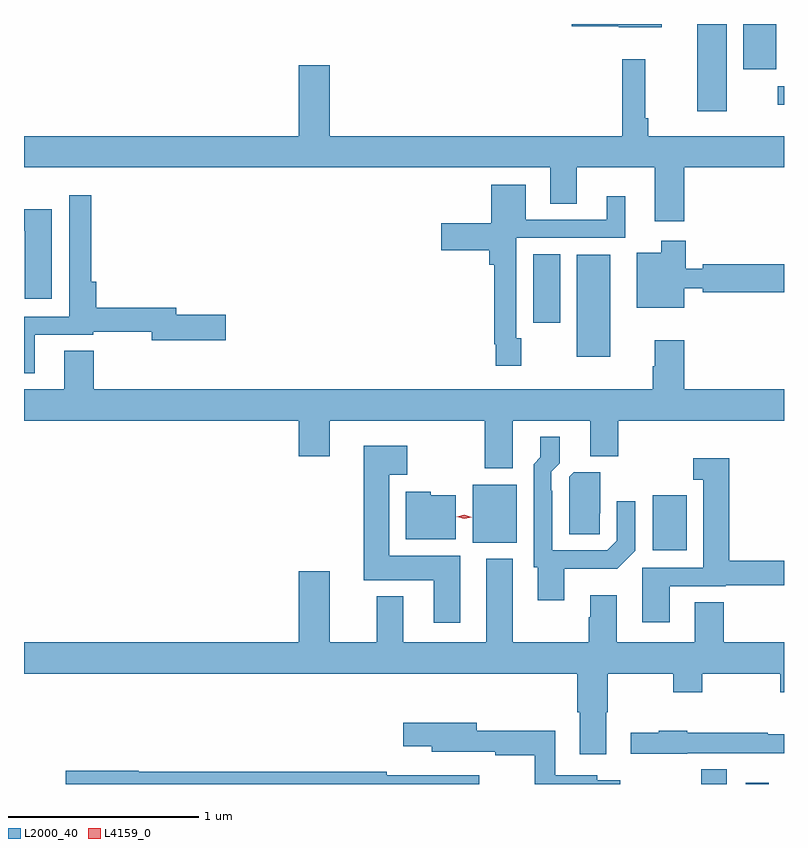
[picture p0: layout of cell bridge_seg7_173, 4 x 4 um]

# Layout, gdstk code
import gdstk
lib = gdstk.Library(unit=1e-6, precision=1e-09)
def R(c, l, rs):  # rectangles x0, y0, x1, y1
    for r in rs: c.add(gdstk.rectangle(r[:2], r[2:], *l))
def P(c, l, *ps):  # polygons
    for p in ps: c.add(gdstk.Polygon(p, *l))
L2000_40 = (2000, 40)
L4159_0 = (4159, 0)

bridge_seg7_173 = lib.new_cell('bridge_seg7_173')
R(bridge_seg7_173, L2000_40, [(454.838,1028.007,454.972,1028.084), (455.072,1028.007,455.194,1028.014), (454.583,1029.236,454.762,1029.526), (453.635,1029.278,453.868,1029.583), (454.184,1030.256,454.36,1030.792), (453.953,1030.434,454.096,1030.796), (454.817,1031.547,454.972,1032.007), (455.241,1031.582,455.274,1031.679), (455.06,1031.768,455.233,1032.007)])
P(bridge_seg7_173, L2000_40, [(454.63,1032.007),(454.158,1032.007),(454.158,1031.996),(454.404,1031.996),(454.404,1031.99),(454.63,1031.99)],
  [(454.748,1031.252),(455.274,1031.252),(455.274,1031.416),(454.559,1031.416),(454.559,1031.512),(454.544,1031.512),(454.544,1031.821),(454.423,1031.821),(454.423,1031.416),(452.884,1031.416),(452.884,1031.791),(452.72,1031.791),(452.72,1031.416),(451.274,1031.416),(451.274,1031.252),(454.043,1031.252),(454.043,1031.062),(454.183,1031.062),(454.183,1031.252),(454.595,1031.252),(454.595,1030.968),(454.748,1030.968)],
  [(453.891,1030.353),(453.864,1030.353),(453.864,1030.881),(454.438,1030.881),(454.438,1031.101),(454.34,1031.101),(454.34,1030.977),(453.916,1030.977),(453.916,1031.161),(453.734,1031.161),(453.734,1030.959),(453.471,1030.959),(453.471,1030.817),(453.722,1030.817),(453.722,1030.739),(453.748,1030.739),(453.748,1030.321),(453.756,1030.321),(453.756,1030.209),(453.891,1030.209)],
  [(451.33,1030.371),(451.638,1030.371),(451.638,1030.386),(451.946,1030.386),(451.946,1030.343),(452.335,1030.343),(452.335,1030.478),(452.074,1030.478),(452.074,1030.514),(451.655,1030.514),(451.655,1030.651),(451.628,1030.651),(451.628,1031.107),(451.512,1031.107),(451.512,1030.467),(451.274,1030.467),(451.274,1030.17),(451.33,1030.17)],
  [(451.42,1031.031),(451.274,1031.031),(451.274,1030.92),(451.277,1030.92),(451.277,1030.56),(451.42,1030.56)],
  [(454.75,1030.615),(454.846,1030.615),(454.846,1030.595),(455.274,1030.595),(455.274,1030.742),(454.846,1030.742),(454.846,1030.719),(454.758,1030.719),(454.758,1030.867),(454.628,1030.867),(454.628,1030.804),(454.499,1030.804),(454.499,1030.514),(454.75,1030.514)],
  [(453.847,1029.92),(454.253,1029.92),(454.253,1029.733),(454.401,1029.733),(454.401,1029.92),(455.274,1029.92),(455.274,1030.084),(454.748,1030.084),(454.748,1030.342),(454.595,1030.342),(454.595,1030.205),(454.583,1030.205),(454.583,1030.084),(451.64,1030.084),(451.64,1030.286),(451.487,1030.286),(451.487,1030.084),(451.274,1030.084),(451.274,1029.92),(452.72,1029.92),(452.72,1029.732),(452.884,1029.732),(452.884,1029.92),(453.7,1029.92),(453.7,1029.668),(453.847,1029.668)],
  [(454.117,1029.14),(454.397,1029.14),(454.491,1029.234),(454.491,1029.496),(454.395,1029.496),(454.395,1029.288),(454.344,1029.237),(454.053,1029.237),(454.053,1029.551),(454.05,1029.551),(454.05,1029.651),(454.093,1029.694),(454.093,1029.835),(453.992,1029.835),(453.992,1029.726),(453.957,1029.691),(453.957,1029.147),(453.977,1029.147),(453.977,1028.973),(454.117,1028.973)],
  [(453.571,1029.208),(453.196,1029.208),(453.196,1029.635),(453.292,1029.635),(453.292,1029.787),(453.062,1029.787),(453.062,1029.08),(453.431,1029.08),(453.431,1028.856),(453.571,1028.856)],
  [(454.672,1029.048),(454.968,1029.048),(454.968,1029.054),(455.274,1029.054),(455.274,1029.182),(454.985,1029.182),(454.985,1029.721),(454.797,1029.721),(454.797,1029.608),(454.85,1029.608),(454.85,1029.144),(454.529,1029.144),(454.529,1028.859),(454.672,1028.859)],
  [(454.305,1029.433),(454.306,1029.433),(454.306,1029.648),(454.167,1029.648),(454.143,1029.624),(454.143,1029.322),(454.305,1029.322)],
  [(453.547,1029.526),(453.414,1029.526),(453.414,1029.544),(453.284,1029.544),(453.284,1029.296),(453.547,1029.296)],
  [(454.339,1028.384),(454.347,1028.384),(454.347,1028.588),(454.69,1028.588),(454.69,1028.489),(454.845,1028.489),(454.845,1028.588),(455.254,1028.588),(455.254,1028.489),(455.274,1028.489),(455.274,1028.752),(454.958,1028.752),(454.958,1028.963),(454.805,1028.963),(454.805,1028.752),(454.393,1028.752),(454.393,1029.001),(454.253,1029.001),(454.253,1028.885),(454.246,1028.885),(454.246,1028.752),(453.847,1028.752),(453.847,1029.193),(453.707,1029.193),(453.707,1028.752),(453.271,1028.752),(453.271,1028.995),(453.131,1028.995),(453.131,1028.752),(452.884,1028.752),(452.884,1029.127),(452.72,1029.127),(452.72,1028.752),(451.274,1028.752),(451.274,1028.588),(454.187,1028.588),(454.187,1028.384),(454.199,1028.384),(454.199,1028.163),(454.339,1028.163)],
  [(454.411,1028.026),(454.29,1028.026),(454.29,1028.052),(454.071,1028.052),(454.071,1028.287),(453.658,1028.287),(453.658,1028.329),(453.27,1028.329),(453.27,1028.207),(453.419,1028.207),(453.419,1028.178),(453.754,1028.178),(453.754,1028.158),(453.963,1028.158),(453.963,1028.007),(454.411,1028.007)],
  [(454.764,1028.169),(455.076,1028.169),(455.076,1028.168),(455.274,1028.168),(455.274,1028.268),(455.189,1028.268),(455.189,1028.278),(454.764,1028.278),(454.764,1028.287),(454.614,1028.287),(454.614,1028.278),(454.467,1028.278),(454.467,1028.165),(454.764,1028.165)],
  [(453.671,1028.052),(453.182,1028.052),(453.182,1028.072),(451.878,1028.072),(451.878,1028.078),(451.494,1028.078),(451.494,1028.007),(453.671,1028.007)])
P(bridge_seg7_173, L4159_0, [(453.591,1029.403),(453.552,1029.413),(453.552,1029.413),(453.552,1029.413),(453.591,1029.423),(453.63,1029.412),(453.63,1029.412),(453.63,1029.412)])

lib.write_gds('bridge_seg7_173.gds')
